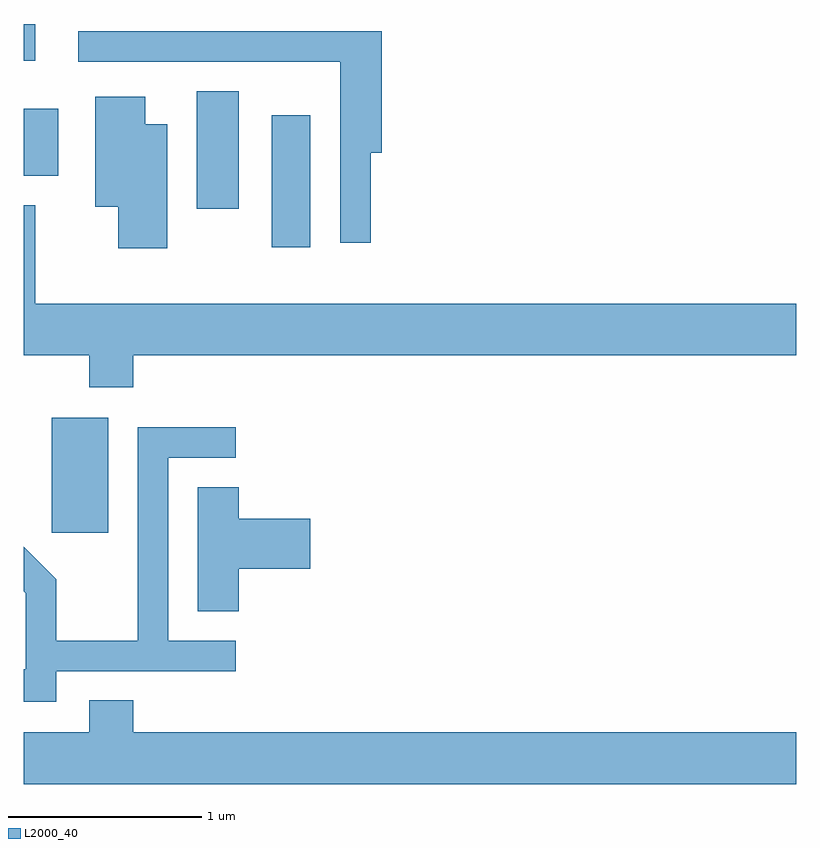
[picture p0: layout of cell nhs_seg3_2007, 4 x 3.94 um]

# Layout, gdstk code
import gdstk
lib = gdstk.Library(unit=1e-6, precision=1e-09)
def R(c, l, rs):  # rectangles x0, y0, x1, y1
    for r in rs: c.add(gdstk.rectangle(r[:2], r[2:], *l))
def P(c, l, *ps):  # polygons
    for p in ps: c.add(gdstk.Polygon(p, *l))
L2000_40 = (2000, 40)

nhs_seg3_2007 = lib.new_cell('nhs_seg3_2007')
R(nhs_seg3_2007, L2000_40, [(243.756,1187.256,244.049,1187.854), (244.896,1188.736,245.094,1189.419), (244.506,1188.936,244.724,1189.544), (243.611,1189.106,243.789,1189.454), (243.611,1189.701,243.669,1189.892)])
P(nhs_seg3_2007, L2000_40, [(245.409,1189.226),(245.464,1189.226),(245.464,1189.854),(243.893,1189.854),(243.893,1189.696),(245.251,1189.696),(245.251,1188.758),(245.409,1188.758)],
  [(244.354,1189.374),(244.239,1189.374),(244.239,1189.514),(243.981,1189.514),(243.981,1188.946),(244.101,1188.946),(244.101,1188.731),(244.354,1188.731)],
  [(244.179,1188.176),(247.611,1188.176),(247.611,1188.444),(243.669,1188.444),(243.669,1188.954),(243.611,1188.954),(243.611,1188.176),(243.951,1188.176),(243.951,1188.011),(244.179,1188.011)],
  [(243.779,1186.541),(244.708,1186.541),(244.708,1186.699),(244.359,1186.699),(244.359,1187.646),(244.708,1187.646),(244.708,1187.804),(244.201,1187.804),(244.201,1186.699),(243.779,1186.699),(243.779,1187.017),(243.611,1187.185),(243.611,1186.954),(243.621,1186.944),(243.621,1186.549),(243.611,1186.549),(243.611,1186.381),(243.779,1186.381)],
  [(244.724,1187.071),(245.094,1187.071),(245.094,1187.329),(244.724,1187.329),(244.724,1187.494),(244.511,1187.494),(244.511,1186.851),(244.724,1186.851)],
  [(247.611,1186.224),(244.179,1186.224),(244.179,1186.389),(243.951,1186.389),(243.951,1186.224),(243.611,1186.224),(243.611,1185.956),(247.611,1185.956)])

lib.write_gds('nhs_seg3_2007.gds')
